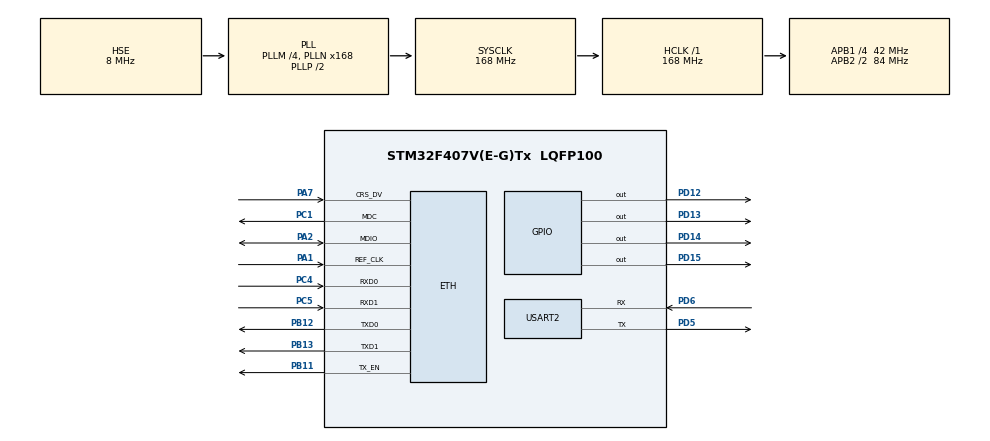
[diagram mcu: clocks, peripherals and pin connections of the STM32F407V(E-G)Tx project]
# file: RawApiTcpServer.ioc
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ETH.MediaInterface=HAL_ETH_RMII_MODE
LWIP.BSP.number=1
LWIP.GATEWAY_ADDRESS=010.073.132.254
LWIP.IP_ADDRESS=010.073.132.155
LWIP.LWIP_DHCP=0
LWIP.MEM_SIZE=10*1024
LWIP.NETMASK_ADDRESS=255.255.255.000
LWIP.Version=v2.1.2_Cube
LWIP0.BSP.STBoard=false
LWIP0.BSP.api=BSP_COMPONENT_DRIVER
LWIP0.BSP.component=DP83848
LWIP0.BSP.instance=DP83848
LWIP0.BSP.name=Driver_PHY
LWIP0.BSP.semaphore=S_DP83848
LWIP0.BSP.solution=DP83848
Mcu.Family=STM32F4
Mcu.Name=STM32F407V(E-G)Tx
Mcu.Package=LQFP100
NVIC.ETH_IRQn=true\:0\:0\:false\:false\:true\:true\:true\:true
NVIC.PriorityGroup=NVIC_PRIORITYGROUP_0
NVIC.USART2_IRQn=true\:0\:0\:false\:false\:true\:true\:true\:true
PA1.Mode=RMII
PA1.Signal=ETH_REF_CLK
PA2.Mode=RMII
PA2.Signal=ETH_MDIO
PA7.Mode=RMII
PA7.Signal=ETH_CRS_DV
PB11.Mode=RMII
PB11.Signal=ETH_TX_EN
PB12.Mode=RMII
PB12.Signal=ETH_TXD0
PB13.Mode=RMII
PB13.Signal=ETH_TXD1
PC1.Mode=RMII
PC1.Signal=ETH_MDC
PC4.Mode=RMII
PC4.Signal=ETH_RXD0
PC5.Mode=RMII
PC5.Signal=ETH_RXD1
PD12.Signal=GPIO_Output
PD13.Signal=GPIO_Output
PD14.Signal=GPIO_Output
PD15.Signal=GPIO_Output
PD5.Mode=Asynchronous
PD5.Signal=USART2_TX
PD6.Mode=Asynchronous
PD6.Signal=USART2_RX
PH0-OSC_IN.Mode=HSE-External-Oscillator
PH0-OSC_IN.Signal=RCC_OSC_IN
PH1-OSC_OUT.Mode=HSE-External-Oscillator
PH1-OSC_OUT.Signal=RCC_OSC_OUT
ProjectManager.HeapSize=0x200
ProjectManager.StackSize=0x400
ProjectManager.TargetToolchain=STM32CubeIDE
RCC.48MHZClocksFreq_Value=48000000
RCC.AHBFreq_Value=168000000
RCC.APB1CLKDivider=RCC_HCLK_DIV4
RCC.APB1Freq_Value=42000000
RCC.APB1TimFreq_Value=84000000
RCC.APB2CLKDivider=RCC_HCLK_DIV2
RCC.APB2Freq_Value=84000000
RCC.APB2TimFreq_Value=168000000
RCC.CortexFreq_Value=168000000
RCC.HCLKFreq_Value=168000000
RCC.HSE_VALUE=8000000
RCC.HSI_VALUE=16000000
RCC.LSE_VALUE=32768
RCC.PLLM=4
RCC.PLLN=168
RCC.PLLQ=7
RCC.PLLSourceVirtual=RCC_PLLSOURCE_HSE
RCC.SYSCLKFreq_VALUE=168000000
RCC.SYSCLKSource=RCC_SYSCLKSOURCE_PLLCLK
RCC.VCOOutputFreq_Value=336000000
USART2.VirtualMode=VM_ASYNC
VP_LWIP_VS_Enabled.Mode=Enabled
board=STM32F407G-DISC1

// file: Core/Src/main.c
/* USER CODE BEGIN Header */
/**
  ******************************************************************************
  * @file           : main.c
  * @brief          : Main program body
  ******************************************************************************
  * @attention
  *
  * Copyright (c) 2026 STMicroelectronics.
  * All rights reserved.
  *
  * This software is licensed under terms that can be found in the LICENSE file
  * in the root directory of this software component.
  * If no LICENSE file comes with this software, it is provided AS-IS.
  *
  ******************************************************************************
  */
/* USER CODE END Header */
#include "main.h"
#include "lwip.h"
#include "usart.h"
#include "gpio.h"

/* USER CODE BEGIN Includes */
#include "tcpServerRAW.h"
/* USER CODE END Includes */

/* USER CODE BEGIN PV */
extern struct netif gnetif;
void phy_check(void) {
    uint32_t phy_reg_value = 0;
    uint32_t target_reg = 0x02; // Thanh ghi PHY ID

    for (uint32_t addr = 0; addr < 32; addr++) {
        if (HAL_ETH_ReadPHYRegister(&heth, addr, target_reg, &phy_reg_value) == HAL_OK) {
            // Kiểm tra giá trị đ�?c được
            if (phy_reg_value != 0xFFFF && phy_reg_value != 0x0000) {
                printf("\r\nPHY found at Address: %ld (RegVal: 0x%lX)\r\n", addr, phy_reg_value);
                // Bật LED thông báo
                HAL_GPIO_WritePin(GPIOD, GPIO_PIN_12 | GPIO_PIN_13 | GPIO_PIN_14 | GPIO_PIN_15, GPIO_PIN_SET);
                // Nếu tìm thấy rồi thì có thể break để tiết kiệm th�?i gian
                 break;
            }
        }
    }
}
/* USER CODE END PV */

void SystemClock_Config(void);

int main(void)
{

  /* MCU Configuration--------------------------------------------------------*/

  /* Reset of all peripherals, Initializes the Flash interface and the Systick. */
  HAL_Init();

  /* Configure the system clock */
  SystemClock_Config();

  /* Initialize all configured peripherals */
  MX_GPIO_Init();
  MX_LWIP_Init();
  MX_USART2_UART_Init();
  /* USER CODE BEGIN 2 */
  phy_check();
  tcp_server_init();
  uint32_t count = 0;
  /* USER CODE END 2 */

  /* Infinite loop */
  while (1)
  {

    /* USER CODE BEGIN 3 */
	ethernetif_input(&gnetif);
	sys_check_timeouts();
	count++;
	if (count > 10000) {
	  count = 0;
	  HAL_GPIO_TogglePin(GPIOD, GPIO_PIN_12);
	}
  }
  /* USER CODE END 3 */
}

void SystemClock_Config(void)
{
  RCC_OscInitTypeDef RCC_OscInitStruct = {0};
  RCC_ClkInitTypeDef RCC_ClkInitStruct = {0};

  /** Configure the main internal regulator output voltage
  */
  __HAL_RCC_PWR_CLK_ENABLE();
  __HAL_PWR_VOLTAGESCALING_CONFIG(PWR_REGULATOR_VOLTAGE_SCALE1);

  /** Initializes the RCC Oscillators according to the specified parameters
  * in the RCC_OscInitTypeDef structure.
  */
  RCC_OscInitStruct.OscillatorType = RCC_OSCILLATORTYPE_HSE;
  RCC_OscInitStruct.HSEState = RCC_HSE_ON;
  RCC_OscInitStruct.PLL.PLLState = RCC_PLL_ON;
  RCC_OscInitStruct.PLL.PLLSource = RCC_PLLSOURCE_HSE;
  RCC_OscInitStruct.PLL.PLLM = 4;
  RCC_OscInitStruct.PLL.PLLN = 168;
  RCC_OscInitStruct.PLL.PLLP = RCC_PLLP_DIV2;
  RCC_OscInitStruct.PLL.PLLQ = 7;
  if (HAL_RCC_OscConfig(&RCC_OscInitStruct) != HAL_OK)
  {
    Error_Handler();
  }

  /** Initializes the CPU, AHB and APB buses clocks
  */
  RCC_ClkInitStruct.ClockType = RCC_CLOCKTYPE_HCLK|RCC_CLOCKTYPE_SYSCLK
                              |RCC_CLOCKTYPE_PCLK1|RCC_CLOCKTYPE_PCLK2;
  RCC_ClkInitStruct.SYSCLKSource = RCC_SYSCLKSOURCE_PLLCLK;
  RCC_ClkInitStruct.AHBCLKDivider = RCC_SYSCLK_DIV1;
  RCC_ClkInitStruct.APB1CLKDivider = RCC_HCLK_DIV4;
  RCC_ClkInitStruct.APB2CLKDivider = RCC_HCLK_DIV2;

  if (HAL_RCC_ClockConfig(&RCC_ClkInitStruct, FLASH_LATENCY_5) != HAL_OK)
  {
    Error_Handler();
  }
}

void Error_Handler(void)
{
  __disable_irq();
  while (1)
  {
  }
}
